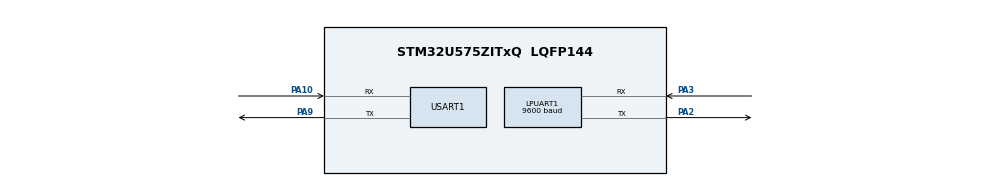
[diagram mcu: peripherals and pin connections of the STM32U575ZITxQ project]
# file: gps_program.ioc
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CORTEX_M33_NS.userName=CORTEX_M33
LPUART1.BaudRate=9600
Mcu.Family=STM32U5
Mcu.Name=STM32U575ZITxQ
Mcu.Package=LQFP144
NVIC.LPUART1_IRQn=true\:0\:0\:false\:false\:true\:true\:true\:true
NVIC.PriorityGroup=NVIC_PRIORITYGROUP_3
NVIC.TIM17_IRQn=true\:7\:0\:false\:false\:true\:false\:true\:true
NVIC.TimeBase=TIM17_IRQn
NVIC.TimeBaseIP=TIM17
NVIC.USART1_IRQn=true\:0\:0\:false\:false\:true\:true\:true\:true
PA10.Mode=Asynchronous
PA10.Signal=USART1_RX
PA13\ (JTMS/SWDIO).Signal=DEBUG_JTMS-SWDIO
PA14\ (JTCK/SWCLK).Signal=DEBUG_JTCK-SWCLK
PA2.Mode=Asynchronous
PA2.Signal=LPUART1_TX
PA3.Mode=Asynchronous
PA3.Signal=LPUART1_RX
PA9.Mode=Asynchronous
PA9.Signal=USART1_TX
PB3\ (JTDO/TRACESWO).Signal=DEBUG_JTDO-SWO
PC14-OSC32_IN\ (PC14).Signal=RCC_OSC32_IN
PC15-OSC32_OUT\ (PC15).Signal=RCC_OSC32_OUT
PWR.PowerMode=PWR_SMPS_SUPPLY
ProjectManager.HeapSize=0x200
ProjectManager.StackSize=0x400
ProjectManager.TargetToolchain=STM32CubeIDE
RCC.ADCFreq_Value=16000000
RCC.DACCLockSelectionVirtual=RCC_DAC1CLKSOURCE_LSI
RCC.EPOD_VALUE=4000000
RCC.HSE_VALUE=16000000
RCC.HSI48_VALUE=48000000
RCC.HSI_VALUE=16000000
RCC.LSE_VALUE=32768
RCC.LSIDIV_VALUE=32000
RCC.MSI_VALUE=4000000
RCC.USBFreq_Value=48000000
RCC.VCOOutputFreq_Value=516000000
USART1.VirtualMode-Asynchronous=VM_ASYNC
VP_ICACHE_VS_ENABLE_ICACHE_MEMORY.Mode=Memoryregions
VP_ICACHE_VS_ICACHE.Mode=DirectMappedCache
VP_LPBAMQUEUE_VS_QUEUE.Mode=QUEUEMODE
VP_LPBAM_VS_SIG1.Mode=SmartRun
VP_LPBAM_VS_SIG4.Mode=LPDMA1
VP_MEMORYMAP_VS_MEMORYMAP.Mode=CurAppReg
VP_PWR_VS_DBSignals.Mode=DisableDeadBatterySignals
VP_PWR_VS_LPOM.Mode=PowerOptimisation
VP_PWR_VS_SECSignals.Mode=Security/Privilege
VP_SYS_VS_tim17.Mode=TIM17
board=NUCLEO-U575ZI-Q

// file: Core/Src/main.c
/* USER CODE BEGIN Header */
/**
  ******************************************************************************
  * @file           : main.c
  * @brief          : Main program body
  ******************************************************************************
  * @attention
  *
  * Copyright (c) 2026 STMicroelectronics.
  * All rights reserved.
  *
  * This software is licensed under terms that can be found in the LICENSE file
  * in the root directory of this software component.
  * If no LICENSE file comes with this software, it is provided AS-IS.
  *
  ******************************************************************************
  */
/* USER CODE END Header */
#include "main.h"

/* USER CODE BEGIN Includes */
#include <stdio.h>
#include <string.h>
#include <stdlib.h>
/* USER CODE END Includes */

UART_HandleTypeDef hlpuart1;
UART_HandleTypeDef huart1;

/* USER CODE BEGIN PV */
//Added all this section

//Generics used for later use
#define RX_LINE_MAX 128
#define RX_QUEUE_LINES 16

static uint8_t rx_byte;

static char build_line[RX_LINE_MAX];
static uint16_t build_idx = 0;

static char line_q[RX_QUEUE_LINES][RX_LINE_MAX];
static volatile uint8_t q_head = 0, q_tail = 0;

static volatile uint32_t lines_ok = 0;
static volatile uint32_t lines_drop = 0;

typedef struct {
    char utc[16];
    float lat;
    float lon;
    int sats;
    float hdop;
    int valid;
} gps_data_t;

static gps_data_t gps;
/* USER CODE END PV */

void SystemClock_Config(void);
static void SystemPower_Config(void);
static void MX_GPIO_Init(void);
static void MX_ICACHE_Init(void);
static void MX_USART1_UART_Init(void);
static void MX_LPUART1_UART_Init(void);
/* USER CODE BEGIN PFP */
static int queue_push(const char *s);
static int queue_pop(char *out);
static void parse_nmea(char *line);
static float nmea_to_deg(const char *s);
/* USER CODE END PFP */

int main(void)
{

  /* MCU Configuration--------------------------------------------------------*/

  /* Reset of all peripherals, Initializes the Flash interface and the Systick. */
  HAL_Init();

  /* Configure the System Power */
  SystemPower_Config();

  /* Configure the system clock */
  SystemClock_Config();

  /* Initialize all configured peripherals */
  MX_GPIO_Init();
  MX_ICACHE_Init();
  MX_USART1_UART_Init();
  MX_LPUART1_UART_Init();

  /* Infinite loop */
  /* USER CODE BEGIN WHILE */

  HAL_UART_Receive_IT(&hlpuart1, &rx_byte, 1);
  const char msg[] = "HELLO\r\n";
  HAL_UART_Transmit(&huart1, (uint8_t*)msg, sizeof(msg)-1, 100);

  while (1)
  {
      char line[RX_LINE_MAX];

      while (queue_pop(line))
      {

          parse_nmea(line);

          char out[128];

          int lat_i = (int)(gps.lat * 1000000);
          int lon_i = (int)(gps.lon * 1000000);
          int hdop_i = (int)(gps.hdop * 100);

          int len = snprintf(out, sizeof(out),
              "UTC:%s LATi:%d LONi:%d SAT:%d HDOPi:%d VALID:%d\r\n",
              gps.utc, lat_i, lon_i, gps.sats, hdop_i, gps.valid);
//          int len = snprintf(out, sizeof(out),
//                             "UTC:%s LAT:%.6f LON:%.6f SAT:%d HDOP:%.2f VALID:%d\r\n",
//                             gps.utc, gps.lat, gps.lon, gps.sats, gps.hdop, gps.valid);

          HAL_UART_Transmit(&huart1, (uint8_t*)out, len, 100);
      }

      HAL_Delay(1);
  }
//  while (1)
//  	{
//  	    char line[RX_LINE_MAX];
//
//  	    while (queue_pop(line))
//  	    {
//  	        HAL_UART_Transmit(&huart2, (uint8_t*)line, strlen(line), 100);
//  	        HAL_UART_Transmit(&huart2, (uint8_t*)"\r\n", 2, 100);
//  	    }
//
//  	    HAL_Delay(1);
//  	}

    /* USER CODE END WHILE */

}

void SystemClock_Config(void)
{
  RCC_OscInitTypeDef RCC_OscInitStruct = {0};
  RCC_ClkInitTypeDef RCC_ClkInitStruct = {0};

  /** Configure the main internal regulator output voltage
  */
  if (HAL_PWREx_ControlVoltageScaling(PWR_REGULATOR_VOLTAGE_SCALE4) != HAL_OK)
  {
    Error_Handler();
  }

  /** Initializes the CPU, AHB and APB buses clocks
  */
  RCC_OscInitStruct.OscillatorType = RCC_OSCILLATORTYPE_MSI;
  RCC_OscInitStruct.MSIState = RCC_MSI_ON;
  RCC_OscInitStruct.MSICalibrationValue = RCC_MSICALIBRATION_DEFAULT;
  RCC_OscInitStruct.MSIClockRange = RCC_MSIRANGE_4;
  RCC_OscInitStruct.PLL.PLLState = RCC_PLL_NONE;
  if (HAL_RCC_OscConfig(&RCC_OscInitStruct) != HAL_OK)
  {
    Error_Handler();
  }

  /** Initializes the CPU, AHB and APB buses clocks
  */
  RCC_ClkInitStruct.ClockType = RCC_CLOCKTYPE_HCLK|RCC_CLOCKTYPE_SYSCLK
                              |RCC_CLOCKTYPE_PCLK1|RCC_CLOCKTYPE_PCLK2
                              |RCC_CLOCKTYPE_PCLK3;
  RCC_ClkInitStruct.SYSCLKSource = RCC_SYSCLKSOURCE_MSI;
  RCC_ClkInitStruct.AHBCLKDivider = RCC_SYSCLK_DIV1;
  RCC_ClkInitStruct.APB1CLKDivider = RCC_HCLK_DIV1;
  RCC_ClkInitStruct.APB2CLKDivider = RCC_HCLK_DIV1;
  RCC_ClkInitStruct.APB3CLKDivider = RCC_HCLK_DIV1;

  if (HAL_RCC_ClockConfig(&RCC_ClkInitStruct, FLASH_LATENCY_0) != HAL_OK)
  {
    Error_Handler();
  }
}

/**
  * @brief Power Configuration
  * @retval None
  */
static void SystemPower_Config(void)
{

  /*
   * Disable the internal Pull-Up in Dead Battery pins of UCPD peripheral
   */
  HAL_PWREx_DisableUCPDDeadBattery();

  /*
   * Switch to SMPS regulator instead of LDO
   */
  if (HAL_PWREx_ConfigSupply(PWR_SMPS_SUPPLY) != HAL_OK)
  {
    Error_Handler();
  }
}

static void MX_ICACHE_Init(void)
{

  /** Enable instruction cache in 1-way (direct mapped cache)
  */
  if (HAL_ICACHE_ConfigAssociativityMode(ICACHE_1WAY) != HAL_OK)
  {
    Error_Handler();
  }
  if (HAL_ICACHE_Enable() != HAL_OK)
  {
    Error_Handler();
  }

}

static void MX_LPUART1_UART_Init(void)
{

  hlpuart1.Instance = LPUART1;
  hlpuart1.Init.BaudRate = 9600;
  hlpuart1.Init.WordLength = UART_WORDLENGTH_8B;
  hlpuart1.Init.StopBits = UART_STOPBITS_1;
  hlpuart1.Init.Parity = UART_PARITY_NONE;
  hlpuart1.Init.Mode = UART_MODE_TX_RX;
  hlpuart1.Init.HwFlowCtl = UART_HWCONTROL_NONE;
  hlpuart1.Init.OneBitSampling = UART_ONE_BIT_SAMPLE_DISABLE;
  hlpuart1.AdvancedInit.AdvFeatureInit = UART_ADVFEATURE_NO_INIT;
  hlpuart1.FifoMode = UART_FIFOMODE_DISABLE;
  if (HAL_UART_Init(&hlpuart1) != HAL_OK)
  {
    Error_Handler();
  }
  if (HAL_UARTEx_SetTxFifoThreshold(&hlpuart1, UART_TXFIFO_THRESHOLD_1_8) != HAL_OK)
  {
    Error_Handler();
  }
  if (HAL_UARTEx_SetRxFifoThreshold(&hlpuart1, UART_RXFIFO_THRESHOLD_1_8) != HAL_OK)
  {
    Error_Handler();
  }
  if (HAL_UARTEx_DisableFifoMode(&hlpuart1) != HAL_OK)
  {
    Error_Handler();
  }

}

static void MX_USART1_UART_Init(void)
{

  huart1.Instance = USART1;
  huart1.Init.BaudRate = 115200;
  huart1.Init.WordLength = UART_WORDLENGTH_8B;
  huart1.Init.StopBits = UART_STOPBITS_1;
  huart1.Init.Parity = UART_PARITY_NONE;
  huart1.Init.Mode = UART_MODE_TX_RX;
  huart1.Init.HwFlowCtl = UART_HWCONTROL_NONE;
  huart1.Init.OverSampling = UART_OVERSAMPLING_16;
  huart1.Init.OneBitSampling = UART_ONE_BIT_SAMPLE_DISABLE;
  huart1.Init.ClockPrescaler = UART_PRESCALER_DIV1;
  huart1.AdvancedInit.AdvFeatureInit = UART_ADVFEATURE_NO_INIT;
  if (HAL_UART_Init(&huart1) != HAL_OK)
  {
    Error_Handler();
  }
  if (HAL_UARTEx_SetTxFifoThreshold(&huart1, UART_TXFIFO_THRESHOLD_1_8) != HAL_OK)
  {
    Error_Handler();
  }
  if (HAL_UARTEx_SetRxFifoThreshold(&huart1, UART_RXFIFO_THRESHOLD_1_8) != HAL_OK)
  {
    Error_Handler();
  }
  if (HAL_UARTEx_DisableFifoMode(&huart1) != HAL_OK)
  {
    Error_Handler();
  }

}

static void MX_GPIO_Init(void)
{

  /* GPIO Ports Clock Enable */
  __HAL_RCC_GPIOC_CLK_ENABLE();
  __HAL_RCC_GPIOA_CLK_ENABLE();
  __HAL_RCC_GPIOB_CLK_ENABLE();

}

/* USER CODE BEGIN 4 */
void HAL_UART_RxCpltCallback(UART_HandleTypeDef *huart)
 {
   if (huart->Instance == LPUART1)
   {
     // Grab received byte and
     uint8_t b = rx_byte;

     // Build a line until '\n' (NMEA typical end is "\r\n")
     if (b == '\r' || b == '\n')
     {
         if (build_idx > 0)
         {
             build_line[build_idx] = '\0';

             if (queue_push(build_line))
                 lines_ok++;
             else
                 lines_drop++;

             build_idx = 0;
         }
     }
     else
     {
         if (build_idx < RX_LINE_MAX - 1)
             build_line[build_idx++] = (char)b;
         else
         {
             build_idx = 0;
             lines_drop++;
         }
     }

     // Re-arm next byte
     HAL_UART_Receive_IT(&hlpuart1, &rx_byte, 1);
   }
 }

 static int queue_push(const char *s)
 {
   uint8_t next = (uint8_t)((q_head + 1) % RX_QUEUE_LINES);
   if (next == q_tail) return 0; // full

   strncpy(line_q[q_head], s, RX_LINE_MAX);
   line_q[q_head][RX_LINE_MAX - 1] = '\0';
   q_head = next;
   return 1;
 }

 static int queue_pop(char *out)
 {
   if (q_tail == q_head) return 0; // empty

   strncpy(out, line_q[q_tail], RX_LINE_MAX);
   out[RX_LINE_MAX - 1] = '\0';
   q_tail = (uint8_t)((q_tail + 1) % RX_QUEUE_LINES);
   return 1;
 }

 static float nmea_to_deg(const char *s)
 {
     if (!s || !*s) return 0.0f;

     float v = (float)atof(s);
     int deg = (int)(v / 100.0f);
     float min = v - (deg * 100.0f);
     return deg + (min / 60.0f);
 }

 static void parse_nmea(char *line)
 {
     char *f[20] = {0};
     int n = 0;

     char *tok = strtok(line, ",");
     while (tok && n < 20) {
         f[n++] = tok;
         tok = strtok(NULL, ",");
     }

     if (n == 0) return;

     if (!strncmp(f[0], "$GNRMC", 6) || !strncmp(f[0], "$GPRMC", 6))
     {
         if (n > 6) {
             strncpy(gps.utc, f[1] ? f[1] : "", sizeof(gps.utc)-1);
             gps.utc[sizeof(gps.utc)-1] = '\0';

             gps.valid = (f[2] && f[2][0] == 'A');

             gps.lat = nmea_to_deg(f[3]);
             if (f[4] && f[4][0] == 'S') gps.lat = -gps.lat;

             gps.lon = nmea_to_deg(f[5]);
             if (f[6] && f[6][0] == 'W') gps.lon = -gps.lon;
         }
     }
     else if (!strncmp(f[0], "$GNGGA", 6) || !strncmp(f[0], "$GPGGA", 6))
     {
         if (n > 8) {
             gps.sats = f[7] ? atoi(f[7]) : 0;
             gps.hdop = f[8] ? (float)atof(f[8]) : 0.0f;
         }
     }
 }
/* USER CODE END 4 */

void HAL_TIM_PeriodElapsedCallback(TIM_HandleTypeDef *htim)
{
  if (htim->Instance == TIM17)
  {
    HAL_IncTick();
  }
}

void Error_Handler(void)
{
  __disable_irq();
  while (1)
  {
  }
}
